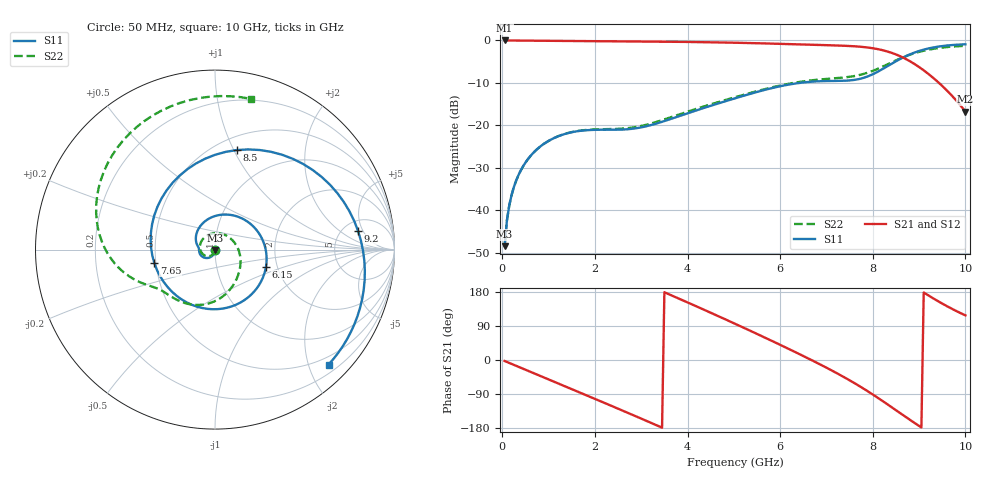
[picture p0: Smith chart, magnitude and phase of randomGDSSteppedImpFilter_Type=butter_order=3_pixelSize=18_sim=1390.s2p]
! freq	dB(S11)	phase(S11)	dB(S12)	phase(S12)
!  dB(S21)	phase(S21)	dB(S22)	phase(S22)
!S-par simulation data
#  GHz  S  DB  R 50
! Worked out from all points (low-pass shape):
!   200 points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, 50 MHz to 10 GHz, reference 50 ohm
!   highest |S21| = -0.01 dB at 50 MHz (marker M1); lowest = -16.8 dB at 10 GHz (marker M2)
!   |S21| within 3 dB of the highest: start of sweep to 8.428 GHz
!   lowest |S11| = -48.5 dB at 50 MHz (marker M3), VSWR 1.01, Z = 50 - j0.377 ohm
!   |S11| at or under -10 dB: start of sweep to 6.425 GHz
!   |S22| runs from -48.5 to -1.3 dB; largest |S21 - S12| = 0
!   S11 on the Smith chart (normalised r, x): 50 MHz: 1.00, -0.01; 6.15 GHz: 1.75, -0.36; 7.65 GHz: 0.49, -0.08; 8.5 GHz: 0.63, +1.03; 9.2 GHz: 6.83, +3.99; 10 GHz: 0.35, -2.35
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0.05  -48.46 -87.7  -0.01 -2.6  -0.01 -2.6  -48.47 -88.4
0.1  -42.40 -92.2  -0.01 -5.2  -0.01 -5.2  -42.40 -93.4
0.2  -36.44 -97.9  -0.02 -10.3  -0.02 -10.3  -36.46 -100.7
0.5  -28.77 -112.4  -0.04 -25.7  -0.04 -25.7  -28.79 -119.7
1.15  -22.83 -140.4  -0.09 -58.9  -0.09 -58.9  -22.82 -159.8
1.75  -21.21 -162.5  -0.13 -89.7  -0.13 -89.7  -21.16 160.0
2.5  -21.03 179.1  -0.18 -128.4  -0.18 -128.4  -20.83 100.4
3.4  -19.34 161.8  -0.27 -175.8  -0.27 -175.8  -18.95 23.9
4.15  -16.62 128.6  -0.38 143.9  -0.38 143.9  -16.24 -22.6
5.05  -13.55 67.6  -0.55 94.3  -0.55 94.3  -13.30 -60.0
5.6  -11.84 25.2  -0.68 63.2  -0.68 63.2  -11.66 -79.3
6.15  -10.47 -18.4  -0.85 31.3  -0.85 31.3  -10.28 -98.7
6.7  -9.70 -64.4  -1.03 -1.6  -1.03 -1.6  -9.37 -118.1
7.2  -9.54 -112.8  -1.18 -33.2  -1.18 -33.2  -8.90 -134.0
7.65  -9.21 -167.4  -1.41 -64.3  -1.41 -64.3  -8.29 -145.4
8  -7.97 143.5  -1.84 -91.0  -1.84 -91.0  -7.17 -154.1
8.35  -5.85 96.0  -2.72 -119.7  -2.72 -119.7  -5.46 -167.4
8.5  -4.91 77.5  -3.30 -132.4  -3.30 -132.4  -4.70 -175.1
8.8  -3.29 44.2  -4.89 -157.7  -4.89 -157.7  -3.37 166.3
9.2  -1.90 7.4  -7.88 170.5  -7.88 170.5  -2.19 137.5
9.6  -1.20 -21.9  -11.79 142.2  -11.79 142.2  -1.56 107.2
10  -0.91 -45.4  -16.77 117.8  -16.77 117.8  -1.28 76.7
